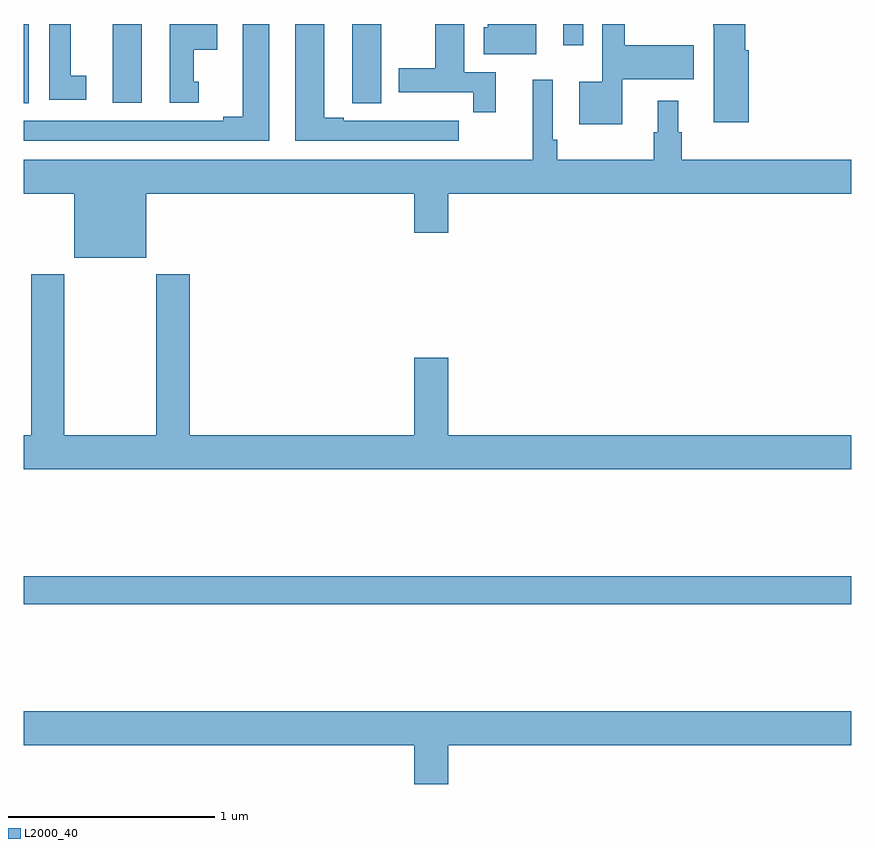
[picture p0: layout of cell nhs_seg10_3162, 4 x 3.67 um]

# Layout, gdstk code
import gdstk
lib = gdstk.Library(unit=1e-6, precision=1e-09)
def R(c, l, rs):  # rectangles x0, y0, x1, y1
    for r in rs: c.add(gdstk.rectangle(r[:2], r[2:], *l))
def P(c, l, *ps):  # polygons
    for p in ps: c.add(gdstk.Polygon(p, *l))
L2000_40 = (2000, 40)

nhs_seg10_3162 = lib.new_cell('nhs_seg10_3162')
R(nhs_seg10_3162, L2000_40, [(283,1267.696,287,1267.832), (283,1270.117,283.024,1270.5), (283.43,1270.119,283.57,1270.5), (285.608,1270.398,285.705,1270.5)])
P(nhs_seg10_3162, L2000_40, [(283.303,1270.25),(283.228,1270.25),(283.228,1270.5),(283.124,1270.5),(283.124,1270.134),(283.303,1270.134)],
  [(285.892,1270.232),(286.237,1270.232),(286.237,1270.398),(285.904,1270.398),(285.904,1270.5),(285.795,1270.5),(285.795,1270.222),(285.686,1270.222),(285.686,1270.016),(285.892,1270.016)],
  [(285.478,1270.5),(285.242,1270.5),(285.242,1270.485),(285.224,1270.485),(285.224,1270.355),(285.478,1270.355)],
  [(283.846,1270.221),(283.822,1270.221),(283.822,1270.376),(283.936,1270.376),(283.936,1270.5),(283.706,1270.5),(283.706,1270.119),(283.846,1270.119)],
  [(285.281,1270.266),(285.13,1270.266),(285.13,1270.5),(284.99,1270.5),(284.99,1270.287),(284.813,1270.287),(284.813,1270.17),(285.172,1270.17),(285.172,1270.074),(285.281,1270.074)],
  [(286.505,1270.374),(286.487,1270.374),(286.487,1270.5),(286.333,1270.5),(286.333,1270.486),(286.334,1270.486),(286.334,1270.026),(286.505,1270.026)],
  [(285.103,1270.032),(284.99,1270.032),(284.99,1270.033),(284.824,1270.033),(284.824,1270.032),(284.548,1270.032),(284.548,1270.047),(284.452,1270.047),(284.452,1270.5),(284.312,1270.5),(284.312,1269.936),(285.103,1269.936)],
  [(284.728,1270.5),(284.588,1270.5),(284.588,1270.225),(284.589,1270.225),(284.589,1270.117),(284.728,1270.117)],
  [(284.188,1270.5),(284.06,1270.5),(284.06,1270.052),(283.964,1270.052),(283.964,1270.032),(283,1270.032),(283,1269.936),(284.188,1269.936)],
  [(283.594,1269.68),(284.888,1269.68),(284.888,1269.492),(285.052,1269.492),(285.052,1269.68),(287,1269.68),(287,1269.844),(286.181,1269.844),(286.181,1269.978),(286.162,1269.978),(286.162,1270.129),(286.064,1270.129),(286.064,1269.978),(286.045,1269.978),(286.045,1269.844),(285.578,1269.844),(285.578,1269.94),(285.558,1269.94),(285.558,1270.231),(285.461,1270.231),(285.461,1269.844),(283,1269.844),(283,1269.68),(283.244,1269.68),(283.244,1269.371),(283.594,1269.371)],
  [(287,1268.512),(285.052,1268.512),(285.052,1268.887),(284.888,1268.887),(284.888,1268.512),(283.802,1268.512),(283.802,1269.292),(283.642,1269.292),(283.642,1268.512),(283.197,1268.512),(283.197,1269.292),(283.037,1269.292),(283.037,1268.512),(283,1268.512),(283,1268.348),(287,1268.348)],
  [(285.052,1267.016),(287,1267.016),(287,1267.18),(283,1267.18),(283,1267.016),(284.888,1267.016),(284.888,1266.828),(285.052,1266.828)])

lib.write_gds('nhs_seg10_3162.gds')
